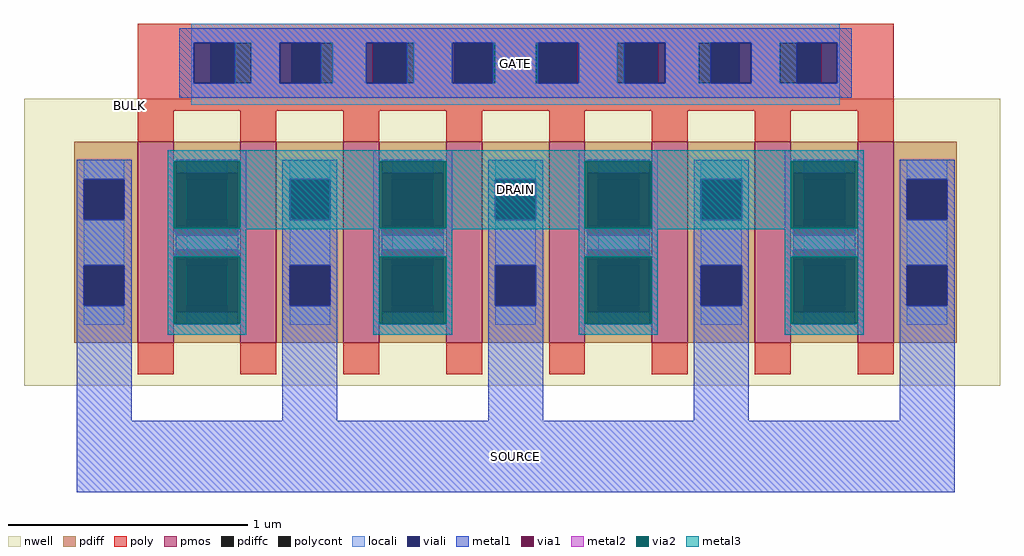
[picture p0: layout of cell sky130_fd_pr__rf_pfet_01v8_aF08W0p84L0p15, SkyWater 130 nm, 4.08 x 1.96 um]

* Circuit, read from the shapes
.subckt sky130_fd_pr__rf_pfet_01v8_aF08W0p84L0p15 DRAIN SOURCE GATE BULK
XM1 DRAIN GATE SOURCE BULK sky130_fd_pr__pfet_01v8 w=0.84 l=0.15 m=8
.ends

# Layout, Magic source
magic
tech sky130A
magscale 1 2
<< nwell >>
rect 0 0 816 240
<< pmos >>
rect 95 36 125 204
rect 181 36 211 204
rect 267 36 297 204
rect 353 36 383 204
rect 439 36 469 204
rect 525 36 555 204
rect 611 36 641 204
rect 697 36 727 204
<< pdiff >>
rect 42 173 95 204
rect 42 139 50 173
rect 84 139 95 173
rect 42 101 95 139
rect 42 67 50 101
rect 84 67 95 101
rect 42 36 95 67
rect 125 173 181 204
rect 125 139 136 173
rect 170 139 181 173
rect 125 101 181 139
rect 125 67 136 101
rect 170 67 181 101
rect 125 36 181 67
rect 211 173 267 204
rect 211 139 222 173
rect 256 139 267 173
rect 211 101 267 139
rect 211 67 222 101
rect 256 67 267 101
rect 211 36 267 67
rect 297 173 353 204
rect 297 139 308 173
rect 342 139 353 173
rect 297 101 353 139
rect 297 67 308 101
rect 342 67 353 101
rect 297 36 353 67
rect 383 173 439 204
rect 383 139 394 173
rect 428 139 439 173
rect 383 101 439 139
rect 383 67 394 101
rect 428 67 439 101
rect 383 36 439 67
rect 469 173 525 204
rect 469 139 480 173
rect 514 139 525 173
rect 469 101 525 139
rect 469 67 480 101
rect 514 67 525 101
rect 469 36 525 67
rect 555 173 611 204
rect 555 139 566 173
rect 600 139 611 173
rect 555 101 611 139
rect 555 67 566 101
rect 600 67 611 101
rect 555 36 611 67
rect 641 173 697 204
rect 641 139 652 173
rect 686 139 697 173
rect 641 101 697 139
rect 641 67 652 101
rect 686 67 697 101
rect 641 36 697 67
rect 727 173 780 204
rect 727 139 738 173
rect 772 139 780 173
rect 727 101 780 139
rect 727 67 738 101
rect 772 67 780 101
rect 727 36 780 67
<< pdiffc >>
rect 50 139 84 173
rect 50 67 84 101
rect 136 139 170 173
rect 136 67 170 101
rect 222 139 256 173
rect 222 67 256 101
rect 308 139 342 173
rect 308 67 342 101
rect 394 139 428 173
rect 394 67 428 101
rect 480 139 514 173
rect 480 67 514 101
rect 566 139 600 173
rect 566 67 600 101
rect 652 139 686 173
rect 652 67 686 101
rect 738 139 772 173
rect 738 67 772 101
<< poly >>
rect 95 287 727 303
rect 95 253 156 287
rect 190 253 224 287
rect 258 253 292 287
rect 326 253 360 287
rect 394 253 428 287
rect 462 253 496 287
rect 530 253 564 287
rect 598 253 632 287
rect 666 253 727 287
rect 95 230 727 253
rect 95 204 125 230
rect 181 204 211 230
rect 267 204 297 230
rect 353 204 383 230
rect 439 204 469 230
rect 525 204 555 230
rect 611 204 641 230
rect 697 204 727 230
rect 95 10 125 36
rect 181 10 211 36
rect 267 10 297 36
rect 353 10 383 36
rect 439 10 469 36
rect 525 10 555 36
rect 611 10 641 36
rect 697 10 727 36
<< polycont >>
rect 156 253 190 287
rect 224 253 258 287
rect 292 253 326 287
rect 360 253 394 287
rect 428 253 462 287
rect 496 253 530 287
rect 564 253 598 287
rect 632 253 666 287
<< locali >>
rect 140 287 682 303
rect 140 253 142 287
rect 190 253 214 287
rect 258 253 286 287
rect 326 253 358 287
rect 394 253 428 287
rect 464 253 496 287
rect 536 253 564 287
rect 608 253 632 287
rect 680 253 682 287
rect 140 235 682 253
rect 50 173 84 189
rect 50 101 84 139
rect 50 51 84 67
rect 136 173 170 189
rect 136 101 170 139
rect 136 51 170 67
rect 222 173 256 189
rect 222 101 256 139
rect 222 51 256 67
rect 308 173 342 189
rect 308 101 342 139
rect 308 51 342 67
rect 394 173 428 189
rect 394 101 428 139
rect 394 51 428 67
rect 480 173 514 189
rect 480 101 514 139
rect 480 51 514 67
rect 566 173 600 189
rect 566 101 600 139
rect 566 51 600 67
rect 652 173 686 189
rect 652 101 686 139
rect 652 51 686 67
rect 738 173 772 189
rect 738 101 772 139
rect 738 51 772 67
<< viali >>
rect 142 253 156 287
rect 156 253 176 287
rect 214 253 224 287
rect 224 253 248 287
rect 286 253 292 287
rect 292 253 320 287
rect 358 253 360 287
rect 360 253 392 287
rect 430 253 462 287
rect 462 253 464 287
rect 502 253 530 287
rect 530 253 536 287
rect 574 253 598 287
rect 598 253 608 287
rect 646 253 666 287
rect 666 253 680 287
rect 50 139 84 173
rect 50 67 84 101
rect 136 139 170 173
rect 136 67 170 101
rect 222 139 256 173
rect 222 67 256 101
rect 308 139 342 173
rect 308 67 342 101
rect 394 139 428 173
rect 394 67 428 101
rect 480 139 514 173
rect 480 67 514 101
rect 566 139 600 173
rect 566 67 600 101
rect 652 139 686 173
rect 652 67 686 101
rect 738 139 772 173
rect 738 67 772 101
<< metal1 >>
rect 130 287 692 299
rect 130 253 142 287
rect 176 253 214 287
rect 248 253 286 287
rect 320 253 358 287
rect 392 253 430 287
rect 464 253 502 287
rect 536 253 574 287
rect 608 253 646 287
rect 680 253 692 287
rect 130 241 692 253
rect 44 173 90 189
rect 44 139 50 173
rect 84 139 90 173
rect 44 101 90 139
rect 44 67 50 101
rect 84 67 90 101
rect 44 -29 90 67
rect 127 178 179 189
rect 127 114 179 126
rect 127 51 179 62
rect 216 173 262 189
rect 216 139 222 173
rect 256 139 262 173
rect 216 101 262 139
rect 216 67 222 101
rect 256 67 262 101
rect 216 -29 262 67
rect 299 178 351 189
rect 299 114 351 126
rect 299 51 351 62
rect 388 173 434 189
rect 388 139 394 173
rect 428 139 434 173
rect 388 101 434 139
rect 388 67 394 101
rect 428 67 434 101
rect 388 -29 434 67
rect 471 178 523 189
rect 471 114 523 126
rect 471 51 523 62
rect 560 173 606 189
rect 560 139 566 173
rect 600 139 606 173
rect 560 101 606 139
rect 560 67 566 101
rect 600 67 606 101
rect 560 -29 606 67
rect 643 178 695 189
rect 643 114 695 126
rect 643 51 695 62
rect 732 173 778 189
rect 732 139 738 173
rect 772 139 778 173
rect 732 101 778 139
rect 732 67 738 101
rect 772 67 778 101
rect 732 -29 778 67
rect 44 -89 778 -29
<< via1 >>
rect 127 173 179 178
rect 127 139 136 173
rect 136 139 170 173
rect 170 139 179 173
rect 127 126 179 139
rect 127 101 179 114
rect 127 67 136 101
rect 136 67 170 101
rect 170 67 179 101
rect 127 62 179 67
rect 299 173 351 178
rect 299 139 308 173
rect 308 139 342 173
rect 342 139 351 173
rect 299 126 351 139
rect 299 101 351 114
rect 299 67 308 101
rect 308 67 342 101
rect 342 67 351 101
rect 299 62 351 67
rect 471 173 523 178
rect 471 139 480 173
rect 480 139 514 173
rect 514 139 523 173
rect 471 126 523 139
rect 471 101 523 114
rect 471 67 480 101
rect 480 67 514 101
rect 514 67 523 101
rect 471 62 523 67
rect 643 173 695 178
rect 643 139 652 173
rect 652 139 686 173
rect 686 139 695 173
rect 643 126 695 139
rect 643 101 695 114
rect 643 67 652 101
rect 652 67 686 101
rect 686 67 695 101
rect 643 62 695 67
<< metal2 >>
rect 120 188 186 197
rect 120 132 125 188
rect 181 132 186 188
rect 120 126 127 132
rect 179 126 186 132
rect 120 114 186 126
rect 120 108 127 114
rect 179 108 186 114
rect 120 52 125 108
rect 181 52 186 108
rect 120 43 186 52
rect 292 188 358 197
rect 292 132 297 188
rect 353 132 358 188
rect 292 126 299 132
rect 351 126 358 132
rect 292 114 358 126
rect 292 108 299 114
rect 351 108 358 114
rect 292 52 297 108
rect 353 52 358 108
rect 292 43 358 52
rect 464 188 530 197
rect 464 132 469 188
rect 525 132 530 188
rect 464 126 471 132
rect 523 126 530 132
rect 464 114 530 126
rect 464 108 471 114
rect 523 108 530 114
rect 464 52 469 108
rect 525 52 530 108
rect 464 43 530 52
rect 636 188 702 197
rect 636 132 641 188
rect 697 132 702 188
rect 636 126 643 132
rect 695 126 702 132
rect 636 114 702 126
rect 636 108 643 114
rect 695 108 702 114
rect 636 52 641 108
rect 697 52 702 108
rect 636 43 702 52
<< via2 >>
rect 125 178 181 188
rect 125 132 127 178
rect 127 132 179 178
rect 179 132 181 178
rect 125 62 127 108
rect 127 62 179 108
rect 179 62 181 108
rect 125 52 181 62
rect 297 178 353 188
rect 297 132 299 178
rect 299 132 351 178
rect 351 132 353 178
rect 297 62 299 108
rect 299 62 351 108
rect 351 62 353 108
rect 297 52 353 62
rect 469 178 525 188
rect 469 132 471 178
rect 471 132 523 178
rect 523 132 525 178
rect 469 62 471 108
rect 471 62 523 108
rect 523 62 525 108
rect 469 52 525 62
rect 641 178 697 188
rect 641 132 643 178
rect 643 132 695 178
rect 695 132 697 178
rect 641 62 643 108
rect 643 62 695 108
rect 695 62 697 108
rect 641 52 697 62
<< metal3 >>
rect 120 188 702 197
rect 120 132 125 188
rect 181 132 297 188
rect 353 132 469 188
rect 525 132 641 188
rect 697 132 702 188
rect 120 131 702 132
rect 120 108 186 131
rect 120 52 125 108
rect 181 52 186 108
rect 120 43 186 52
rect 292 108 358 131
rect 292 52 297 108
rect 353 52 358 108
rect 292 43 358 52
rect 464 108 530 131
rect 464 52 469 108
rect 525 52 530 108
rect 464 43 530 52
rect 636 108 702 131
rect 636 52 641 108
rect 697 52 702 108
rect 636 43 702 52
<< labels >>
flabel metal3 s 120 131 702 197 0 FreeSans 400 0 0 0 DRAIN
port 1 nsew
flabel metal1 s 44 -89 778 -29 0 FreeSans 400 0 0 0 SOURCE
port 2 nsew
flabel metal1 s 130 241 692 299 0 FreeSans 400 0 0 0 GATE
port 3 nsew
flabel nwell s 85 232 91 237 0 FreeSans 400 0 0 0 BULK
port 4 nsew
<< properties >>
string GDS_FILE $PDKPATH/libs.ref/sky130_fd_pr/gds/sky130_fd_pr.gds
string GDS_END 9263804
string GDS_START 9251876
string path 1.675 4.725 1.675 -2.225 
<< end >>
